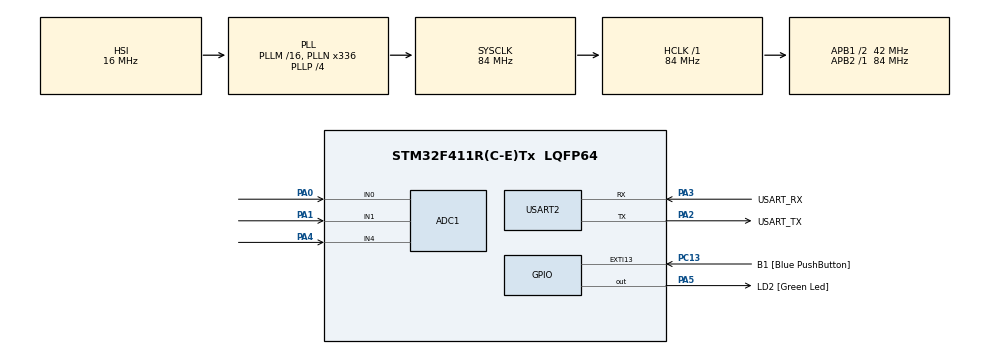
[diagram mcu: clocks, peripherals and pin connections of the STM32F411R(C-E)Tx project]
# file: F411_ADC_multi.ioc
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ADC1.Channel-0\#ChannelRegularConversion=ADC_CHANNEL_0
ADC1.Channel-2\#ChannelRegularConversion=ADC_CHANNEL_1
ADC1.Channel-5\#ChannelRegularConversion=ADC_CHANNEL_4
ADC1.ContinuousConvMode=DISABLE
ADC1.DiscontinuousConvMode=ENABLE
ADC1.NbrOfConversion=3
ADC1.NbrOfConversionFlag=1
ADC1.Rank-0\#ChannelRegularConversion=1
ADC1.Rank-2\#ChannelRegularConversion=2
ADC1.Rank-5\#ChannelRegularConversion=3
ADC1.SamplingTime-0\#ChannelRegularConversion=ADC_SAMPLETIME_3CYCLES
ADC1.SamplingTime-2\#ChannelRegularConversion=ADC_SAMPLETIME_3CYCLES
ADC1.SamplingTime-5\#ChannelRegularConversion=ADC_SAMPLETIME_3CYCLES
ADC1.ScanConvMode=ENABLE
ADC1.master=1
Mcu.Family=STM32F4
Mcu.Name=STM32F411R(C-E)Tx
Mcu.Package=LQFP64
NVIC.PriorityGroup=NVIC_PRIORITYGROUP_0
PA0-WKUP.Signal=ADCx_IN0
PA1.Signal=ADCx_IN1
PA13.GPIO_Label=TMS
PA13.Mode=Serial_Wire
PA13.Signal=SYS_JTMS-SWDIO
PA14.GPIO_Label=TCK
PA14.Mode=Serial_Wire
PA14.Signal=SYS_JTCK-SWCLK
PA2.GPIO_Label=USART_TX
PA2.Mode=Asynchronous
PA2.Signal=USART2_TX
PA3.GPIO_Label=USART_RX
PA3.Mode=Asynchronous
PA3.Signal=USART2_RX
PA4.Signal=ADCx_IN4
PA5.GPIO_Label=LD2 [Green Led]
PA5.Signal=GPIO_Output
PB3.GPIO_Label=SWO
PB3.Signal=SYS_JTDO-SWO
PC13-ANTI_TAMP.GPIO_Label=B1 [Blue PushButton]
PC13-ANTI_TAMP.GPIO_ModeDefaultEXTI=GPIO_MODE_IT_FALLING
PC13-ANTI_TAMP.Signal=GPXTI13
PC14-OSC32_IN.Mode=LSE-External-Oscillator
PC14-OSC32_IN.Signal=RCC_OSC32_IN
PC15-OSC32_OUT.Mode=LSE-External-Oscillator
PC15-OSC32_OUT.Signal=RCC_OSC32_OUT
PH0\ -\ OSC_IN.Mode=HSE-External-Clock-Source
PH0\ -\ OSC_IN.Signal=RCC_OSC_IN
PH1\ -\ OSC_OUT.Mode=HSE-External-Clock-Source
PH1\ -\ OSC_OUT.Signal=RCC_OSC_OUT
ProjectManager.HeapSize=0x200
ProjectManager.StackSize=0x400
ProjectManager.TargetToolchain=STM32CubeIDE
RCC.48MHZClocksFreq_Value=84000000
RCC.AHBFreq_Value=84000000
RCC.APB1CLKDivider=RCC_HCLK_DIV2
RCC.APB1Freq_Value=42000000
RCC.APB1TimFreq_Value=84000000
RCC.APB2Freq_Value=84000000
RCC.APB2TimFreq_Value=84000000
RCC.CortexFreq_Value=84000000
RCC.FLatency-AdvancedSettings=FLASH_LATENCY_2
RCC.HCLKFreq_Value=84000000
RCC.HSE_VALUE=8000000
RCC.HSI_VALUE=16000000
RCC.PLLN=336
RCC.PLLP=RCC_PLLP_DIV4
RCC.SYSCLKFreq_VALUE=84000000
RCC.SYSCLKSource=RCC_SYSCLKSOURCE_PLLCLK
RCC.VCOOutputFreq_Value=336000000
SH.ADCx_IN0.0=ADC1_IN0,IN0
SH.ADCx_IN1.0=ADC1_IN1,IN1
SH.ADCx_IN4.0=ADC1_IN4,IN4
USART2.VirtualMode=VM_ASYNC
board=NUCLEO-F411RE

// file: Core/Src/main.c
/* USER CODE BEGIN Header */
/**
 ******************************************************************************
 * @file           : main.c
 * @brief          : Main program body
 ******************************************************************************
 * @attention
 *
 * Copyright (c) 2023 STMicroelectronics.
 * All rights reserved.
 *
 * This software is licensed under terms that can be found in the LICENSE file
 * in the root directory of this software component.
 * If no LICENSE file comes with this software, it is provided AS-IS.
 *
 ******************************************************************************
 */
/* USER CODE END Header */
#include "main.h"
#include "adc.h"
#include "usart.h"
#include "gpio.h"

/* USER CODE BEGIN Includes */
#include "stdio.h"
#include "string.h"
/* USER CODE END Includes */

void SystemClock_Config(void);

int main(void)
{

  /* MCU Configuration--------------------------------------------------------*/

  /* Reset of all peripherals, Initializes the Flash interface and the Systick. */
  HAL_Init();

  /* Configure the system clock */
  SystemClock_Config();

  /* Initialize all configured peripherals */
  MX_GPIO_Init();
  MX_USART2_UART_Init();
  MX_ADC1_Init();
  /* USER CODE BEGIN 2 */
	char clearScreen[] = "\e[1;1H\e[2J";  // Commande pour effacer l'écran
	char output[100];  // Tampon de sortie pour la conversion de données
	uint32_t resultatADC = 0;
	float tensionADC = 0;
	HAL_UART_Transmit(&huart2, (uint8_t*)clearScreen, strlen(clearScreen), HAL_MAX_DELAY);
  /* USER CODE END 2 */

  /* Infinite loop */
  /* USER CODE BEGIN WHILE */
	while (1)
	{
		// Boucle infinie pour la conversion des trois canaux ADC

		// Démarrer la conversion de l'ADC pour le premier canal (IN0)
		HAL_ADC_Start(&hadc1);

		// Attendre que la conversion du premier canal (IN0) soit terminée
		if (HAL_ADC_PollForConversion(&hadc1, HAL_MAX_DELAY) == HAL_OK) {
			// Récupérer la valeur brute convertie pour IN0
			resultatADC = HAL_ADC_GetValue(&hadc1);

			// Calculer la tension correspondante en fonction de la résolution 12 bits de l'ADC (3.3V max)
			tensionADC = (resultatADC * 3.3) / 4096.0;

			// Envoyer le résultat en binaire sur le terminal via UART
			snprintf(output, sizeof(output), "ADC IN0 result binary %ld \r\n", resultatADC);
			HAL_UART_Transmit(&huart2, (uint8_t*)output, strlen(output), HAL_MAX_DELAY);

			// Envoyer la valeur de la tension convertie sur le terminal via UART
			snprintf(output, sizeof(output), "ADC IN0 tension value %.2f V \r\n", tensionADC);
			HAL_UART_Transmit(&huart2, (uint8_t*)output, strlen(output), HAL_MAX_DELAY);
		}

		// Redémarrer la conversion de l'ADC pour le second canal (IN1)
		HAL_ADC_Start(&hadc1);

		// Attendre que la conversion du second canal (IN1) soit terminée
		if (HAL_ADC_PollForConversion(&hadc1, HAL_MAX_DELAY) == HAL_OK) {
			// Récupérer la valeur brute convertie pour IN1
			resultatADC = HAL_ADC_GetValue(&hadc1);

			// Calculer la tension correspondante pour IN1
			tensionADC = (resultatADC * 3.3) / 4096.0;

			// Envoyer le résultat en binaire sur le terminal via UART
			snprintf(output, sizeof(output), "ADC IN1 result binary %ld \r\n", resultatADC);
			HAL_UART_Transmit(&huart2, (uint8_t*)output, strlen(output), HAL_MAX_DELAY);

			// Envoyer la valeur de la tension convertie sur le terminal via UART
			snprintf(output, sizeof(output), "ADC IN1 tension value %.2f V \r\n", tensionADC);
			HAL_UART_Transmit(&huart2, (uint8_t*)output, strlen(output), HAL_MAX_DELAY);
		}

		// Redémarrer la conversion de l'ADC pour le troisième canal (IN4)
		HAL_ADC_Start(&hadc1);

		// Attendre que la conversion du troisième canal (IN4) soit terminée
		if (HAL_ADC_PollForConversion(&hadc1, HAL_MAX_DELAY) == HAL_OK) {
			// Récupérer la valeur brute convertie pour IN4
			resultatADC = HAL_ADC_GetValue(&hadc1);

			// Calculer la tension correspondante pour IN4
			tensionADC = (resultatADC * 3.3) / 4096.0;

			// Envoyer le résultat en binaire sur le terminal via UART
			snprintf(output, sizeof(output), "ADC IN4 result binary %ld \r\n", resultatADC);
			HAL_UART_Transmit(&huart2, (uint8_t*)output, strlen(output), HAL_MAX_DELAY);

			// Envoyer la valeur de la tension convertie sur le terminal via UART
			snprintf(output, sizeof(output), "ADC IN4 tension value %.2f V \r\n", tensionADC);
			HAL_UART_Transmit(&huart2, (uint8_t*)output, strlen(output), HAL_MAX_DELAY);
		}

		// Redémarrer la conversion de l'ADC pour le troisième canal (IN4)
				HAL_ADC_Start(&hadc1);

				// Attendre que la conversion du troisième canal (IN4) soit terminée
				if (HAL_ADC_PollForConversion(&hadc1, HAL_MAX_DELAY) == HAL_OK) {
					// Récupérer la valeur brute convertie pour IN4
					resultatADC = HAL_ADC_GetValue(&hadc1);

					// Calculer la tension correspondante pour IN4
					tensionADC = (resultatADC * 3.3) / 4096.0;

					// Envoyer le résultat en binaire sur le terminal via UART
					snprintf(output, sizeof(output), "ADC temp result binary %ld \r\n", resultatADC);
					HAL_UART_Transmit(&huart2, (uint8_t*)output, strlen(output), HAL_MAX_DELAY);

					// Envoyer la valeur de la tension convertie sur le terminal via UART
					snprintf(output, sizeof(output), "ADC temp tension value %.2f V \r\n", tensionADC);
					HAL_UART_Transmit(&huart2, (uint8_t*)output, strlen(output), HAL_MAX_DELAY);
				}
		// Arrêter l'ADC une fois les trois conversions terminées
		HAL_ADC_Stop(&hadc1);

		// Pause entre les cycles de conversion
		HAL_Delay(500);

		// Effacer l'écran du terminal pour préparer la prochaine série de résultats
		HAL_UART_Transmit(&huart2, (uint8_t*)clearScreen, strlen(clearScreen), HAL_MAX_DELAY);
	}

    /* USER CODE END WHILE */

}

void SystemClock_Config(void)
{
  RCC_OscInitTypeDef RCC_OscInitStruct = {0};
  RCC_ClkInitTypeDef RCC_ClkInitStruct = {0};

  /** Configure the main internal regulator output voltage
  */
  __HAL_RCC_PWR_CLK_ENABLE();
  __HAL_PWR_VOLTAGESCALING_CONFIG(PWR_REGULATOR_VOLTAGE_SCALE1);

  /** Initializes the RCC Oscillators according to the specified parameters
  * in the RCC_OscInitTypeDef structure.
  */
  RCC_OscInitStruct.OscillatorType = RCC_OSCILLATORTYPE_HSI;
  RCC_OscInitStruct.HSIState = RCC_HSI_ON;
  RCC_OscInitStruct.HSICalibrationValue = RCC_HSICALIBRATION_DEFAULT;
  RCC_OscInitStruct.PLL.PLLState = RCC_PLL_ON;
  RCC_OscInitStruct.PLL.PLLSource = RCC_PLLSOURCE_HSI;
  RCC_OscInitStruct.PLL.PLLM = 16;
  RCC_OscInitStruct.PLL.PLLN = 336;
  RCC_OscInitStruct.PLL.PLLP = RCC_PLLP_DIV4;
  RCC_OscInitStruct.PLL.PLLQ = 4;
  if (HAL_RCC_OscConfig(&RCC_OscInitStruct) != HAL_OK)
  {
    Error_Handler();
  }

  /** Initializes the CPU, AHB and APB buses clocks
  */
  RCC_ClkInitStruct.ClockType = RCC_CLOCKTYPE_HCLK|RCC_CLOCKTYPE_SYSCLK
                              |RCC_CLOCKTYPE_PCLK1|RCC_CLOCKTYPE_PCLK2;
  RCC_ClkInitStruct.SYSCLKSource = RCC_SYSCLKSOURCE_PLLCLK;
  RCC_ClkInitStruct.AHBCLKDivider = RCC_SYSCLK_DIV1;
  RCC_ClkInitStruct.APB1CLKDivider = RCC_HCLK_DIV2;
  RCC_ClkInitStruct.APB2CLKDivider = RCC_HCLK_DIV1;

  if (HAL_RCC_ClockConfig(&RCC_ClkInitStruct, FLASH_LATENCY_2) != HAL_OK)
  {
    Error_Handler();
  }
}

void Error_Handler(void)
{
	__disable_irq();
	while (1)
	{
	}
}
